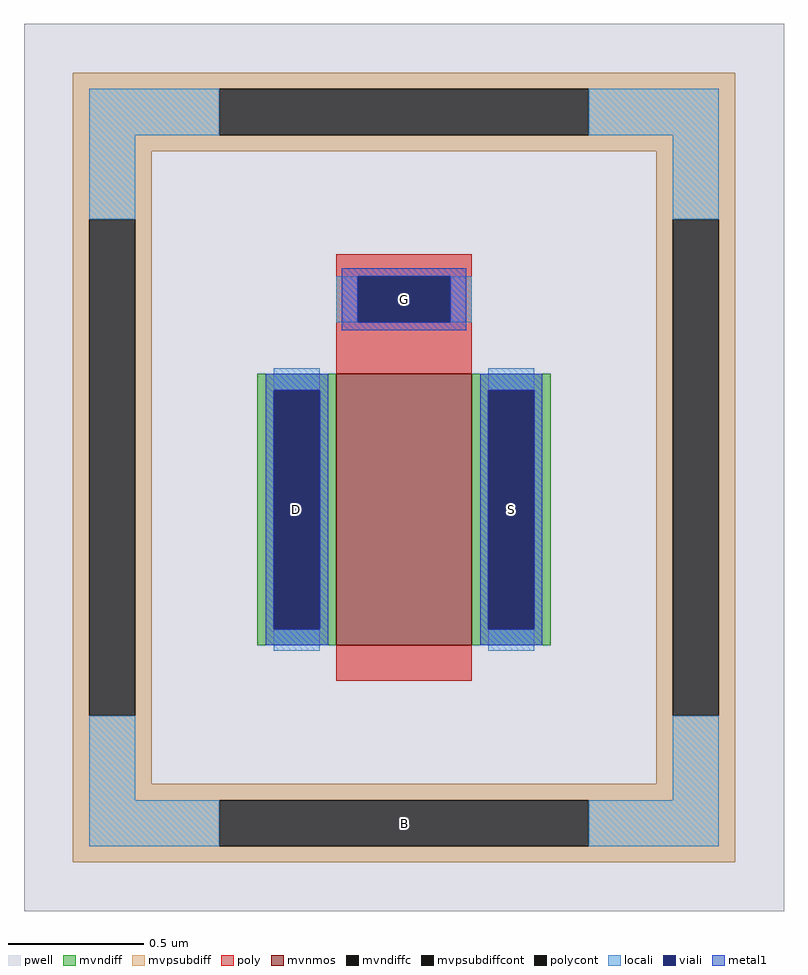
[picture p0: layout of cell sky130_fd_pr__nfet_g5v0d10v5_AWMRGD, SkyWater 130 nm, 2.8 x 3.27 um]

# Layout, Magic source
magic
tech sky130A
magscale 1 2
<< pwell >>
rect -280 -327 280 327
<< mvnmos >>
rect -50 -131 50 69
<< mvndiff >>
rect -108 57 -50 69
rect -108 -119 -96 57
rect -62 -119 -50 57
rect -108 -131 -50 -119
rect 50 57 108 69
rect 50 -119 62 57
rect 96 -119 108 57
rect 50 -131 108 -119
<< mvndiffc >>
rect -96 -119 -62 57
rect 62 -119 96 57
<< mvpsubdiff >>
rect -244 279 244 291
rect -244 245 -136 279
rect 136 245 244 279
rect -244 233 244 245
rect -244 183 -186 233
rect -244 -183 -232 183
rect -198 -183 -186 183
rect 186 183 244 233
rect -244 -233 -186 -183
rect 186 -183 198 183
rect 232 -183 244 183
rect 186 -233 244 -183
rect -244 -245 244 -233
rect -244 -279 -136 -245
rect 136 -279 244 -245
rect -244 -291 244 -279
<< mvpsubdiffcont >>
rect -136 245 136 279
rect -232 -183 -198 183
rect 198 -183 232 183
rect -136 -279 136 -245
<< poly >>
rect -50 141 50 157
rect -50 107 -34 141
rect 34 107 50 141
rect -50 69 50 107
rect -50 -157 50 -131
<< polycont >>
rect -34 107 34 141
<< locali >>
rect -232 245 -136 279
rect 136 245 232 279
rect -232 183 -198 245
rect 198 183 232 245
rect -50 107 -34 141
rect 34 107 50 141
rect -96 57 -62 73
rect -96 -135 -62 -119
rect 62 57 96 73
rect 62 -135 96 -119
rect -232 -245 -198 -183
rect 198 -245 232 -183
rect -232 -279 -136 -245
rect 136 -279 232 -245
<< viali >>
rect -34 107 34 141
rect -96 -119 -62 57
rect 62 -119 96 57
<< metal1 >>
rect -46 141 46 147
rect -46 107 -34 141
rect 34 107 46 141
rect -46 101 46 107
rect -102 57 -56 69
rect -102 -119 -96 57
rect -62 -119 -56 57
rect -102 -131 -56 -119
rect 56 57 102 69
rect 56 -119 62 57
rect 96 -119 102 57
rect 56 -131 102 -119
<< labels >>
rlabel mvpsubdiffcont 0 -262 0 -262 0 B
port 1 nsew
rlabel mvndiffc -79 -31 -79 -31 0 D
port 2 nsew
rlabel mvndiffc 79 -31 79 -31 0 S
port 3 nsew
rlabel polycont 0 124 0 124 0 G
port 4 nsew
<< properties >>
string FIXED_BBOX -215 -262 215 262
string gencell sky130_fd_pr__nfet_g5v0d10v5
string library sky130
string parameters w 1.0 l 0.5 m 1 nf 1 diffcov 100 polycov 100 guard 1 glc 1 grc 1 gtc 1 gbc 1 tbcov 100 rlcov 100 topc 1 botc 0 poverlap 0 doverlap 1 lmin 0.50 wmin 0.42 class mosfet compatible {sky130_fd_pr__nfet_01v8 sky130_fd_pr__nfet_01v8_lvt  sky130_fd_bs_flash__special_sonosfet_star  sky130_fd_pr__nfet_g5v0d10v5 sky130_fd_pr__nfet_05v0_nvt  sky130_fd_pr__nfet_03v3_nvt} full_metal 1 viasrc 100 viadrn 100 viagate 100 viagb 0 viagr 0 viagl 0 viagt 0 doports 1
<< end >>
